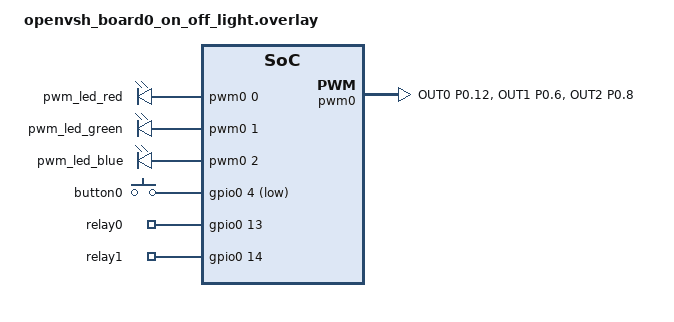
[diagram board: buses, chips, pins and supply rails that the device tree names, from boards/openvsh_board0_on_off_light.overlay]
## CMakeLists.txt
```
cmake_minimum_required(VERSION 3.20.0)
find_package(Zephyr REQUIRED HINTS $ENV{ZEPHYR_BASE})

project(openvsh)

target_include_directories(app PRIVATE include)

target_sources(app PRIVATE
  src/bluetooth.c
  src/main.c
  src/on_off_light.c
  src/zigbee.c
)
```

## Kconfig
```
mainmenu "OpenVSH"

choice OPENVSH_DEVICE_CHOICE
    prompt "OpenVSH device type."
    default OPENVSH_DEVICE_NONE

config OPENVSH_DEVICE_NONE
	bool "None"

config OPENVSH_DEVICE_ON_OFF_LIGHT
	bool "On/Off Light"

config OPENVSH_DEVICE_WINDOW_COVERING
	bool "Window Covering"

endchoice

module = OPENVSH
module-str = openvsh
source "subsys/logging/Kconfig.template.log_config"

source "Kconfig.zephyr"
```

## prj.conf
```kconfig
CONFIG_BT_BUF_ACL_RX_SIZE=502
CONFIG_BT_BUF_ACL_TX_SIZE=502
CONFIG_BT_CTLR_DATA_LENGTH_MAX=251
CONFIG_BT_CTLR=y
CONFIG_BT_L2CAP_TX_MTU=498
CONFIG_BT_PERIPHERAL=y
CONFIG_BT=y
CONFIG_CRC=y
CONFIG_DISABLE_FLASH_PATCH=y
CONFIG_FLASH_MAP=y
CONFIG_FLASH=y
CONFIG_GPIO=y
CONFIG_IMG_MANAGER=y
CONFIG_LOG=y
CONFIG_MAIN_THREAD_PRIORITY=10
CONFIG_MCUMGR_GRP_IMG=y
CONFIG_MCUMGR_GRP_OS_BOOTLOADER_INFO=y
CONFIG_MCUMGR_GRP_OS_MCUMGR_PARAMS=y
CONFIG_MCUMGR_GRP_OS=y
CONFIG_MCUMGR_GRP_ZBASIC=y
CONFIG_MCUMGR_TRANSPORT_BT_REASSEMBLY=y
CONFIG_MCUMGR_TRANSPORT_BT=y
CONFIG_MCUMGR_TRANSPORT_WORKQUEUE_STACK_SIZE=4608
CONFIG_MCUMGR=y
CONFIG_NET_BUF=y
CONFIG_NET_IP_ADDR_CHECK=n
CONFIG_NET_IPV6=n
CONFIG_NET_UDP=n
CONFIG_NVS=y
CONFIG_OPENVSH_LOG_LEVEL_DBG=y
CONFIG_PWM=y
CONFIG_SETTINGS_NVS=y
CONFIG_SETTINGS_RUNTIME=y
CONFIG_SETTINGS=y
CONFIG_STREAM_FLASH=y
CONFIG_SYSTEM_WORKQUEUE_STACK_SIZE=2304
CONFIG_ZCBOR=y
CONFIG_ZIGBEE_CHANNEL_SELECTION_MODE_MULTI=y
CONFIG_ZIGBEE_ROLE_ROUTER=y
CONFIG_ZIGBEE=y
```

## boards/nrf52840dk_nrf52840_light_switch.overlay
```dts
/ {
  pwmleds {
    pwm_led1: pwm_led_1 {
      pwms = <&pwm0 1 PWM_MSEC(20) PWM_POLARITY_INVERTED>;
    };

    pwm_led2: pwm_led_2 {
      pwms = <&pwm0 2 PWM_MSEC(20) PWM_POLARITY_INVERTED>;
    };
  };

  aliases {
    pwm-led-red = &pwm_led0;
    pwm-led-green = &pwm_led1;
    pwm-led-blue = &pwm_led2;

    button = &button0;

    relay-1 = &led3;
    relay-2 = &led3;
  };
};

&pinctrl {
  pwm0_default: pwm0_default {
    group2 {
      psels = <NRF_PSEL(PWM_OUT1, 0, 14)>;
      nordic,invert;
    };
    group3 {
      psels = <NRF_PSEL(PWM_OUT2, 0, 15)>;
      nordic,invert;
    };
  };
};
```

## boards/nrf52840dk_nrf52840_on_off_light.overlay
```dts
/ {
  pwmleds {
    pwm_led1: pwm_led_1 {
      pwms = <&pwm0 1 PWM_MSEC(20) PWM_POLARITY_INVERTED>;
    };

    pwm_led2: pwm_led_2 {
      pwms = <&pwm0 2 PWM_MSEC(20) PWM_POLARITY_INVERTED>;
    };
  };

  aliases {
    pwm-led-red = &pwm_led0;
    pwm-led-green = &pwm_led1;
    pwm-led-blue = &pwm_led2;

    button = &button0;

    relay-1 = &led3;
    relay-2 = &led3;
  };
};

&pinctrl {
  pwm0_default: pwm0_default {
    group2 {
      psels = <NRF_PSEL(PWM_OUT1, 0, 14)>;
      nordic,invert;
    };
    group3 {
      psels = <NRF_PSEL(PWM_OUT2, 0, 15)>;
      nordic,invert;
    };
  };

  pwm0_sleep: pwm0_sleep {
    group2 {
      psels = <NRF_PSEL(PWM_OUT0, 0, 14)>;
      low-power-enable;
    };
    group3 {
      psels = <NRF_PSEL(PWM_OUT0, 0, 15)>;
      low-power-enable;
    };
  };
};
```

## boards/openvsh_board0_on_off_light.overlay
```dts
/ {
  pwmleds {
    compatible = "pwm-leds";

    pwm_led_red: pwm_led_red {
      pwms = <&pwm0 0 PWM_MSEC(20) PWM_POLARITY_NORMAL>;
    };

    pwm_led_green: pwm_led_green {
      pwms = <&pwm0 1 PWM_MSEC(20) PWM_POLARITY_NORMAL>;
    };

    pwm_led_blue: pwm_led_blue {
      pwms = <&pwm0 2 PWM_MSEC(20) PWM_POLARITY_NORMAL>;
    };
  };

  buttons {
    compatible = "gpio-keys";

    button0: button0 {
      gpios = <&gpio0 4 (GPIO_PULL_UP | GPIO_ACTIVE_LOW)>;
      zephyr,code = <INPUT_KEY_0>;
    };
  };

  relays {
    compatible = "gpio-leds";

    relay0: relay0 {
      gpios = <&gpio0 13 GPIO_ACTIVE_HIGH>;
    };
    relay1: relay1 {
      gpios = <&gpio0 14 GPIO_ACTIVE_HIGH>;
    };
  };

  aliases {
    pwm-led-red = &pwm_led_red;
    pwm-led-green = &pwm_led_green;
    pwm-led-blue = &pwm_led_blue;

    button = &button0;

    relay-1 = &relay0;
    relay-2 = &relay1;
  };
};

&pinctrl {
  pwm0_default: pwm0_default {
    group1 {
      psels = <NRF_PSEL(PWM_OUT0, 0, 12)>;
    };
    group2 {
      psels = <NRF_PSEL(PWM_OUT1, 0, 6)>;
    };
    group3 {
      psels = <NRF_PSEL(PWM_OUT2, 0, 8)>;
    };
  };

  pwm0_sleep: pwm0_sleep {
    group1 {
      psels = <NRF_PSEL(PWM_OUT0, 0, 12)>;
      low-power-enable;
    };
    group2 {
      psels = <NRF_PSEL(PWM_OUT1, 0, 6)>;
      low-power-enable;
    };
    group3 {
      psels = <NRF_PSEL(PWM_OUT2, 0, 8)>;
      low-power-enable;
    };
  };
};

&pwm0 {
  status = "okay";
  pinctrl-0 = <&pwm0_default>;
  pinctrl-1 = <&pwm0_sleep>;
  pinctrl-names = "default", "sleep";
};
```

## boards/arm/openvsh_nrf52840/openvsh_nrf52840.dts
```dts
/dts-v1/;
#include <nordic/nrf52840_qiaa.dtsi>
#include <zephyr/dt-bindings/input/input-event-codes.h>

/ {
	model = "OpenVSH NRF52840";
	compatible = "openvsh,openvsh-nrf52840";

	chosen {
		zephyr,sram = &sram0;
		zephyr,flash = &flash0;
		zephyr,ieee802154 = &ieee802154;
	};
};

&gpiote {
	status = "okay";
};

&gpio0 {
	status = "okay";
};

&gpio1 {
	status = "okay";
};

&ieee802154 {
	status = "okay";
};
```

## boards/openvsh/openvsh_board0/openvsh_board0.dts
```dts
/dts-v1/;
#include <nordic/nrf52840_qiaa.dtsi>
#include <zephyr/dt-bindings/input/input-event-codes.h>

/ {
	model = "OpenVSH Board0";
	compatible = "openvsh,board0";

	chosen {
		zephyr,sram = &sram0;
		zephyr,flash = &flash0;
		zephyr,code-partition = &slot0_partition;
		zephyr,ieee802154 = &ieee802154;
	};
};

&flash0 {
	partitions {
		compatible = "fixed-partitions";
		#address-cells = <1>;
		#size-cells = <1>;

		boot_partition: partition@0 {
			label = "mcuboot";
			reg = <0x00000000 0x0000C000>;
		};
		slot0_partition: partition@c000 {
			label = "image-0";
			reg = <0x0000C000 0x00076000>;
		};
		slot1_partition: partition@82000 {
			label = "image-1";
			reg = <0x00082000 0x00076000>;
		};
		storage_partition: partition@f8000 {
			label = "storage";
			reg = <0x000f8000 0x00008000>;
		};
	};
};

&gpiote {
	status = "okay";
};

&gpio0 {
	status = "okay";
};

&gpio1 {
	status = "okay";
};

&ieee802154 {
	status = "okay";
};
```

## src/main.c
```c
#ifdef CONFIG_OPENVSH_DEVICE_ON_OFF_LIGHT
#include "on_off_light.h"
#endif

#include <zephyr/logging/log.h>

LOG_MODULE_REGISTER(openvsh, CONFIG_OPENVSH_LOG_LEVEL);

int main(void)
{
  LOG_INF("Starting OpenVSH");

#ifdef CONFIG_OPENVSH_DEVICE_ON_OFF_LIGHT
  on_off_light_configure_and_start();
#endif

  return 0;
}
```

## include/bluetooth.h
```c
#ifndef BLUETOOTH_H
#define BLUETOOTH_H 1

#include <zephyr/bluetooth/bluetooth.h>
#include <zephyr/bluetooth/conn.h>
#include <zephyr/kernel.h>
#include <zephyr/logging/log.h>

typedef void (*ovsh_bluetooth_connection_handler_t)(bool connected);
typedef void (*ovsh_bluetooth_status_handler_t)(bool enabled);

typedef struct ovsh_bluetooth_handlers_s
{
  ovsh_bluetooth_connection_handler_t connection;
  ovsh_bluetooth_status_handler_t status;
} ovsh_bluetooth_handlers_t;

int ovsh_bluetooth_disable();
int ovsh_bluetooth_enable();
void ovsh_bluetooth_register_handlers(ovsh_bluetooth_handlers_t *handlers);

#endif /* BLUETOOTH_H */
```

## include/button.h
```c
#ifndef BUTTON_H
#define BUTTON_H 1

#include "macro.h"

#include <zephyr/drivers/gpio.h>
#include <zephyr/kernel.h>
#include <zephyr/logging/log.h>

typedef void (*ovsh_button_pressed_handler_t)(uint8_t seconds);
typedef void (*ovsh_button_released_handler_t)();

typedef struct ovsh_button_handlers_s
{
  ovsh_button_pressed_handler_t pressed;
  ovsh_button_released_handler_t released;
} ovsh_button_handlers_t;

#define OVSH_BUTTON_DECLARE_HEADER(NAME) \
  int NAME##_configure();                \
  void NAME##_register_handlers(ovsh_button_handlers_t *handlers);

#define OVSH_BUTTON_DECLARE(NAME, SPEC)                                                             \
  static struct gpio_callback NAME##_callback;                                                      \
  static struct k_timer NAME##_ten_seconds_timer;                                                   \
  static struct k_timer NAME##_fifteen_seconds_timer;                                               \
  static struct k_timer NAME##_debounce_timer;                                                      \
  static ovsh_button_handlers_t *NAME##_registered_handlers;                                        \
  static struct k_work NAME##_pressed_work;                                                         \
  static struct k_work NAME##_pressed_ten_seconds_work;                                             \
  static struct k_work NAME##_pressed_fifteen_seconds_work;                                         \
                                                                                                    \
  static void NAME##_callback_handler(const struct device *port,                                    \
                                      struct gpio_callback *cb,                                     \
                                      gpio_port_pins_t pins)                                        \
  {                                                                                                 \
    if (gpio_pin_get_dt(SPEC))                                                                      \
    {                                                                                               \
      k_timer_start(&NAME##_debounce_timer, K_MSEC(50), K_NO_WAIT);                                 \
    }                                                                                               \
    else                                                                                            \
    {                                                                                               \
      k_timer_stop(&NAME##_ten_seconds_timer);                                                      \
      k_timer_stop(&NAME##_fifteen_seconds_timer);                                                  \
      k_timer_stop(&NAME##_debounce_timer);                                                         \
                                                                                                    \
      if (NAME##_registered_handlers && NAME##_registered_handlers->released)                       \
      {                                                                                             \
        NAME##_registered_handlers->released();                                                     \
      }                                                                                             \
    }                                                                                               \
  }                                                                                                 \
                                                                                                    \
  static void NAME##_debounce_timer_expired(struct k_timer *timer)                                  \
  {                                                                                                 \
    k_work_submit(&NAME##_pressed_work);                                                            \
    k_timer_start(&NAME##_ten_seconds_timer, K_SECONDS(10), K_NO_WAIT);                             \
    k_timer_start(&NAME##_fifteen_seconds_timer, K_SECONDS(15), K_NO_WAIT);                         \
  }                                                                                                 \
                                                                                                    \
  static void NAME##_pressed_work_handler()                                                         \
  {                                                                                                 \
    if (NAME##_registered_handlers && NAME##_registered_handlers->pressed)                          \
    {                                                                                               \
      NAME##_registered_handlers->pressed(0);                                                       \
    }                                                                                               \
  }                                                                                                 \
                                                                                                    \
  static void NAME##_ten_seconds_timer_expired(struct k_timer *timer)                               \
  {                                                                                                 \
    k_work_submit(&NAME##_pressed_ten_seconds_work);                                                \
  }                                                                                                 \
                                                                                                    \
  static void NAME##_pressed_ten_seconds_work_handler()                                             \
  {                                                                                                 \
    if (NAME##_registered_handlers && NAME##_registered_handlers->pressed)                          \
    {                                                                                               \
      NAME##_registered_handlers->pressed(10);                                                      \
    }                                                                                               \
  }                                                                                                 \
                                                                                                    \
  static void NAME##_fifteen_seconds_timer_expired(struct k_timer *timer)                           \
  {                                                                                                 \
    k_work_submit(&NAME##_pressed_fifteen_seconds_work);                                            \
  }                                                                                                 \
                                                                                                    \
  static void NAME##_pressed_fifteen_seconds_work_handler()                                         \
  {                                                                                                 \
    if (NAME##_registered_handlers && NAME##_registered_handlers->pressed)                          \
    {                                                                                               \
      NAME##_registered_handlers->pressed(15);                                                      \
    }                                                                                               \
  }                                                                                                 \
                                                                                                    \
  void NAME##_register_handlers(ovsh_button_handlers_t *handlers)                                   \
  {                                                                                                 \
    NAME##_registered_handlers = handlers;                                                          \
  }                                                                                                 \
                                                                                                    \
  int NAME##_configure()                                                                            \
  {                                                                                                 \
    int err;                                                                                        \
                                                                                                    \
    LOG_INF("Configuring button " #NAME);                                                           \
                                                                                                    \
    if (!gpio_is_ready_dt(SPEC))                                                                    \
    {                                                                                               \
      LOG_ERR("Button " #NAME " GPIO is not ready");                                                \
      return 1;                                                                                     \
    }                                                                                               \
                                                                                                    \
    err = gpio_pin_configure_dt(SPEC, GPIO_INPUT);                                                  \
    if (err != 0)                                                                                   \
    {                                                                                               \
      LOG_ERR("Button " #NAME " GPIO configure failed (err: %d)", err);                             \
      return err;                                                                                   \
    }                                                                                               \
                                                                                                    \
    err = gpio_pin_interrupt_configure_dt(SPEC, GPIO_INT_EDGE_BOTH);                                \
    if (err != 0)                                                                                   \
    {                                                                                               \
      LOG_ERR("Button " #NAME " GPIO interrupt configure failed (err: %d)", err);                   \
      return err;                                                                                   \
    }                                                                                               \
                                                                                                    \
    gpio_init_callback(&NAME##_callback, NAME##_callback_handler, BIT(PTR_TO_VAL(SPEC).pin));       \
                                                                                                    \
    err = gpio_add_callback(PTR_TO_VAL(SPEC).port, &NAME##_callback);                               \
    if (err != 0)                                                                                   \
    {                                                                                               \
      LOG_ERR("Button " #NAME " GPIO add callback failed (err: %d)", err);                          \
      return err;                                                                                   \
    }                                                                                               \
                                                                                                    \
    k_timer_init(&NAME##_ten_seconds_timer, NAME##_ten_seconds_timer_expired, NULL);                \
    k_timer_init(&NAME##_fifteen_seconds_timer, NAME##_fifteen_seconds_timer_expired, NULL);        \
    k_timer_init(&NAME##_debounce_timer, NAME##_debounce_timer_expired, NULL);                      \
    k_work_init(&NAME##_pressed_work, NAME##_pressed_work_handler);                                 \
    k_work_init(&NAME##_pressed_ten_seconds_work, NAME##_pressed_ten_seconds_work_handler);         \
    k_work_init(&NAME##_pressed_fifteen_seconds_work, NAME##_pressed_fifteen_seconds_work_handler); \
                                                                                                    \
    LOG_DBG("Button " #NAME " configured");                                                         \
                                                                                                    \
    return 0;                                                                                       \
  }

#endif /* BUTTON_H */
```

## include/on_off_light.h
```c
#ifdef CONFIG_OPENVSH_DEVICE_ON_OFF_LIGHT

#ifndef ON_OFF_LIGHT_H
#define ON_OFF_LIGHT_H 1

#include "button.h"
#include "rgb.h"
#include "relay.h"
#include "zigbee.h"
#include "bluetooth.h"
#include "zb_ha_on_off_light.h"

#include <zboss_api.h>
#include <zboss_api_addons.h>
#include <zephyr/logging/log.h>
#include <zephyr/settings/settings.h>

OVSH_BUTTON_DECLARE_HEADER(button);
OVSH_RGB_DECLARE_HEADER(rgb);
OVSH_RELAY_DECLARE_HEADER(relay_1);
OVSH_RELAY_DECLARE_HEADER(relay_2);

void on_off_light_configure_and_start();

#endif /* ON_OFF_LIGHT_H */

#endif /* CONFIG_OPENVSH_DEVICE_ON_OFF_LIGHT */
```

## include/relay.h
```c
#ifndef RELAY_H
#define RELAY_H 1

#include "macro.h"

#include <zephyr/drivers/gpio.h>
#include <zephyr/kernel.h>
#include <zephyr/logging/log.h>

#define OVSH_RELAY_DECLARE_HEADER(NAME) \
  void NAME##_toggle();                 \
  void NAME##_set(bool value);          \
  int NAME##_configure();

#define OVSH_RELAY_DECLARE(NAME, SPEC)                                 \
  void NAME##_toggle()                                                 \
  {                                                                    \
    int err;                                                           \
                                                                       \
    err = gpio_pin_toggle_dt(SPEC);                                    \
    if (err != 0)                                                      \
    {                                                                  \
      LOG_ERR("Relay " #NAME " GPIO toggle failed (err: %d)", err);    \
      return;                                                          \
    }                                                                  \
  }                                                                    \
                                                                       \
  void NAME##_set(bool value)                                          \
  {                                                                    \
    int err;                                                           \
                                                                       \
    err = gpio_pin_set_dt(SPEC, value);                                \
    if (err != 0)                                                      \
    {                                                                  \
      LOG_ERR("Relay " #NAME " GPIO set failed (err: %d)", err);       \
      return;                                                          \
    }                                                                  \
  }                                                                    \
                                                                       \
  int NAME##_configure()                                               \
  {                                                                    \
    int err;                                                           \
                                                                       \
    LOG_INF("Configuring relay " #NAME);                               \
                                                                       \
    if (!gpio_is_ready_dt(SPEC))                                       \
    {                                                                  \
      LOG_ERR("Relay " #NAME " GPIO is not ready");                    \
      return 1;                                                        \
    }                                                                  \
                                                                       \
    err = gpio_pin_configure_dt(SPEC, GPIO_OUTPUT_INACTIVE);           \
    if (err != 0)                                                      \
    {                                                                  \
      LOG_ERR("Relay " #NAME " GPIO configure failed (err: %d)", err); \
      return err;                                                      \
    }                                                                  \
                                                                       \
    LOG_DBG("Relay " #NAME " configured");                             \
                                                                       \
    return 0;                                                          \
  }

#endif /* RELAY_H */
```

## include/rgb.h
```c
#ifndef RGB_H
#define RGB_H 1

#include "macro.h"

#include <zephyr/drivers/pwm.h>
#include <zephyr/kernel.h>
#include <zephyr/logging/log.h>

typedef struct ovsh_rgb_spec_s
{
  struct pwm_dt_spec *pwm_red;
  struct pwm_dt_spec *pwm_green;
  struct pwm_dt_spec *pwm_blue;
} ovsh_rgb_spec_t;

typedef struct ovsh_rgb_color_s
{
  uint8_t red;
  uint8_t green;
  uint8_t blue;
} ovsh_rgb_color_t;

static const ovsh_rgb_color_t ovsh_rgb_colors[] = {
    {.red = 255, .green = 0, .blue = 128},   // rose
    {.red = 255, .green = 0, .blue = 255},   // magenta
    {.red = 128, .green = 0, .blue = 255},   // violet
    {.red = 0, .green = 0, .blue = 255},     // blue
    {.red = 0, .green = 128, .blue = 255},   // azure
    {.red = 0, .green = 255, .blue = 255},   // cyan
    {.red = 0, .green = 255, .blue = 128},   // springgreen
    {.red = 0, .green = 255, .blue = 0},     // green
    {.red = 128, .green = 255, .blue = 0},   // chartreuse
    {.red = 255, .green = 255, .blue = 0},   // yellow
    {.red = 255, .green = 128, .blue = 0},   // orange
    {.red = 255, .green = 0, .blue = 0},     // red
    {.red = 255, .green = 255, .blue = 255}, // white
    {.red = 0, .green = 0, .blue = 0},       // none
};

enum ovsh_rgb_color_e
{
  OVSH_RGB_COLOR_ROSE = 0,
  OVSH_RGB_COLOR_MAGENTA,
  OVSH_RGB_COLOR_VIOLET,
  OVSH_RGB_COLOR_BLUE,
  OVSH_RGB_COLOR_AZURE,
  OVSH_RGB_COLOR_CYAN,
  OVSH_RGB_COLOR_SPRINGGREEN,
  OVSH_RGB_COLOR_GREEN,
  OVSH_RGB_COLOR_CHARTREUSE,
  OVSH_RGB_COLOR_YELLOW,
  OVSH_RGB_COLOR_ORANGE,
  OVSH_RGB_COLOR_RED,
  OVSH_RGB_COLOR_WHITE,
  OVSH_RGB_COLOR_NONE,
};

enum ovsh_rgb_brightness_e
{
  OVSH_RGB_BRIGHTNESS_OFF = 0,
  OVSH_RGB_BRIGHTNESS_DIM,
  OVSH_RGB_BRIGHTNESS_MEDIUM,
  OVSH_RGB_BRIGHTNESS_BRIGHT,
};

#define OVSH_RGB_DECLARE_HEADER(NAME)                 \
  void NAME##_start_fading();                         \
  void NAME##_stop_fading();                          \
  int NAME##_configure();                             \
  void NAME##_set_brightness(float brightness);       \
  void NAME##_set_rgb_color(uint8_t color);           \
  void NAME##_set_rgb_brightness(uint8_t brightness); \
  void NAME##_set_color(uint8_t red, uint8_t green, uint8_t blue);

#define OVSH_RGB_DECLARE(NAME, SPEC)                                                  \
  static struct k_timer NAME##_fading_timer;                                          \
  static bool NAME##_fading_increasing = false;                                       \
  static bool NAME##_fading = false;                                                  \
  static uint8_t NAME##_red = 0;                                                      \
  static uint8_t NAME##_green = 0;                                                    \
  static uint8_t NAME##_blue = 0;                                                     \
  static float NAME##_brightness = 0.0f;                                              \
                                                                                      \
  static void NAME##_update()                                                         \
  {                                                                                   \
    int err;                                                                          \
                                                                                      \
    float scaled_red = NAME##_red * NAME##_brightness;                                \
    float scaled_green = NAME##_green * NAME##_brightness;                            \
    float scaled_blue = NAME##_blue * NAME##_brightness;                              \
                                                                                      \
    uint32_t pulse_red = PTR_TO_VAL(SPEC).pwm_red->period * (scaled_red / 255);       \
    uint32_t pulse_green = PTR_TO_VAL(SPEC).pwm_green->period * (scaled_green / 255); \
    uint32_t pulse_blue = PTR_TO_VAL(SPEC).pwm_blue->period * (scaled_blue / 255);    \
                                                                                      \
    err = pwm_set_pulse_dt(PTR_TO_VAL(SPEC).pwm_red, pulse_red);                      \
    if (err != 0)                                                                     \
    {                                                                                 \
      LOG_ERR("RGB " #NAME " PWM set failed (err: %d)", err);                         \
      return;                                                                         \
    }                                                                                 \
                                                                                      \
    err = pwm_set_pulse_dt(PTR_TO_VAL(SPEC).pwm_green, pulse_green);                  \
    if (err != 0)                                                                     \
    {                                                                                 \
      LOG_ERR("RGB " #NAME " PWM set failed (err: %d)", err);                         \
      return;                                                                         \
    }                                                                                 \
                                                                                      \
    err = pwm_set_pulse_dt(PTR_TO_VAL(SPEC).pwm_blue, pulse_blue);                    \
    if (err != 0)                                                                     \
    {                                                                                 \
      LOG_ERR("RGB " #NAME " PWM set failed (err: %d)", err);                         \
      return;                                                                         \
    }                                                                                 \
  }                                                                                   \
                                                                                      \
  static void NAME##_fading_timer_expired()                                           \
  {                                                                                   \
    float step = 0.01f;                                                               \
                                                                                      \
    if (NAME##_fading_increasing)                                                     \
    {                                                                                 \
      NAME##_brightness += step;                                                      \
                                                                                      \
      if (NAME##_brightness > 1.0f)                                                   \
      {                                                                               \
        NAME##_brightness = 1.0f;                                                     \
        NAME##_fading_increasing = false;                                             \
      }                                                                               \
                                                                                      \
      NAME##_update();                                                                \
    }                                                                                 \
    else                                                                              \
    {                                                                                 \
      NAME##_brightness -= step;                                                      \
                                                                                      \
      if (NAME##_brightness < 0.0f)                                                   \
      {                                                                               \
        NAME##_brightness = 0.0f;                                                     \
        NAME##_fading_increasing = true;                                              \
      }                                                                               \
                                                                                      \
      NAME##_update();                                                                \
    }                                                                                 \
  }                                                                                   \
                                                                                      \
  void NAME##_set_color(uint8_t red, uint8_t green, uint8_t blue)                     \
  {                                                                                   \
    NAME##_red = red;                                                                 \
    NAME##_green = green;                                                             \
    NAME##_blue = blue;                                                               \
    NAME##_update();                                                                  \
  }                                                                                   \
                                                                                      \
  void NAME##_set_rgb_color(uint8_t color)                                            \
  {                                                                                   \
                                                                                      \
    NAME##_set_color(                                                                 \
        ovsh_rgb_colors[color].red,                                                   \
        ovsh_rgb_colors[color].green,                                                 \
        ovsh_rgb_colors[color].blue);                                                 \
  }                                                                                   \
                                                                                      \
  void NAME##_set_brightness(float brightness)                                        \
  {                                                                                   \
    if (NAME##_fading)                                                                \
    {                                                                                 \
      return;                                                                         \
    }                                                                                 \
                                                                                      \
    NAME##_brightness = brightness;                                                   \
    NAME##_update();                                                                  \
  }                                                                                   \
                                                                                      \
  void NAME##_set_rgb_brightness(uint8_t brightness)                                  \
  {                                                                                   \
    switch (brightness)                                                               \
    {                                                                                 \
    case OVSH_RGB_BRIGHTNESS_OFF:                                                     \
      NAME##_set_brightness(0.0f);                                                    \
      break;                                                                          \
                                                                                      \
    case OVSH_RGB_BRIGHTNESS_DIM:                                                     \
      NAME##_set_brightness(0.33f);                                                   \
      break;                                                                          \
                                                                                      \
    case OVSH_RGB_BRIGHTNESS_MEDIUM:                                                  \
      NAME##_set_brightness(0.66f);                                                   \
      break;                                                                          \
                                                                                      \
    case OVSH_RGB_BRIGHTNESS_BRIGHT:                                                  \
      NAME##_set_brightness(1.0f);                                                    \
      break;                                                                          \
    }                                                                                 \
  }                                                                                   \
                                                                                      \
  void NAME##_start_fading()                                                          \
  {                                                                                   \
    if (NAME##_fading)                                                                \
    {                                                                                 \
      return;                                                                         \
    }                                                                                 \
                                                                                      \
    NAME##_fading = true;                                                             \
    NAME##_fading_increasing = true;                                                  \
    NAME##_brightness = 0.0f;                                                         \
    NAME##_update();                                                                  \
                                                                                      \
    k_timer_start(&NAME##_fading_timer, K_MSEC(10), K_MSEC(10));                      \
  }                                                                                   \
                                                                                      \
  void NAME##_stop_fading()                                                           \
  {                                                                                   \
    if (!NAME##_fading)                                                               \
    {                                                                                 \
      return;                                                                         \
    }                                                                                 \
                                                                                      \
    NAME##_fading = false;                                                            \
    k_timer_stop(&NAME##_fading_timer);                                               \
                                                                                      \
    NAME##_update();                                                                  \
  }                                                                                   \
                                                                                      \
  int NAME##_configure()                                                              \
  {                                                                                   \
    LOG_INF("Configuring RGB " #NAME);                                                \
                                                                                      \
    if (!pwm_is_ready_dt(PTR_TO_VAL(SPEC).pwm_red))                                   \
    {                                                                                 \
      LOG_ERR("RGB " #NAME " PWM is not ready");                                      \
      return 1;                                                                       \
    }                                                                                 \
                                                                                      \
    if (!pwm_is_ready_dt(PTR_TO_VAL(SPEC).pwm_green))                                 \
    {                                                                                 \
      LOG_ERR("RGB " #NAME " PWM is not ready");                                      \
      return 1;                                                                       \
    }                                                                                 \
                                                                                      \
    if (!pwm_is_ready_dt(PTR_TO_VAL(SPEC).pwm_blue))                                  \
    {                                                                                 \
      LOG_ERR("RGB " #NAME " PWM is not ready");                                      \
      return 1;                                                                       \
    }                                                                                 \
                                                                                      \
    k_timer_init(&NAME##_fading_timer, NAME##_fading_timer_expired, NULL);            \
                                                                                      \
    LOG_DBG("RGB " #NAME " configured");                                              \
                                                                                      \
    return 0;                                                                         \
  }

#endif /* RGB_H */
```

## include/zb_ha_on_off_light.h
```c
#ifdef CONFIG_OPENVSH_DEVICE_ON_OFF_LIGHT

#ifndef ZB_HA_ON_OFF_LIGHT_H
#define ZB_HA_ON_OFF_LIGHT_H 1

#define ZB_HA_DEVICE_VER_ON_OFF_LIGHT 1

#define ZB_HA_ON_OFF_LIGHT_IN_CLUSTER_NUM 5
#define ZB_HA_ON_OFF_LIGHT_OUT_CLUSTER_NUM 0

#define ZB_HA_ON_OFF_LIGHT_REPORT_ATTR_COUNT ZB_ZCL_ON_OFF_REPORT_ATTR_COUNT

#define ZB_HA_DECLARE_ON_OFF_LIGHT_CLUSTER_LIST(                      \
    cluster_list_name,                                                \
    basic_attr_list,                                                  \
    identify_attr_list,                                               \
    groups_attr_list,                                                 \
    scenes_attr_list,                                                 \
    on_off_attr_list)                                                 \
    zb_zcl_cluster_desc_t cluster_list_name[] =                       \
        {                                                             \
            ZB_ZCL_CLUSTER_DESC(                                      \
                ZB_ZCL_CLUSTER_ID_BASIC,                              \
                ZB_ZCL_ARRAY_SIZE(basic_attr_list, zb_zcl_attr_t),    \
                (basic_attr_list),                                    \
                ZB_ZCL_CLUSTER_SERVER_ROLE,                           \
                ZB_ZCL_MANUF_CODE_INVALID),                           \
            ZB_ZCL_CLUSTER_DESC(                                      \
                ZB_ZCL_CLUSTER_ID_IDENTIFY,                           \
                ZB_ZCL_ARRAY_SIZE(identify_attr_list, zb_zcl_attr_t), \
                (identify_attr_list),                                 \
                ZB_ZCL_CLUSTER_SERVER_ROLE,                           \
                ZB_ZCL_MANUF_CODE_INVALID),                           \
            ZB_ZCL_CLUSTER_DESC(                                      \
                ZB_ZCL_CLUSTER_ID_GROUPS,                             \
                ZB_ZCL_ARRAY_SIZE(groups_attr_list, zb_zcl_attr_t),   \
                (groups_attr_list),                                   \
                ZB_ZCL_CLUSTER_SERVER_ROLE,                           \
                ZB_ZCL_MANUF_CODE_INVALID),                           \
            ZB_ZCL_CLUSTER_DESC(                                      \
                ZB_ZCL_CLUSTER_ID_SCENES,                             \
                ZB_ZCL_ARRAY_SIZE(scenes_attr_list, zb_zcl_attr_t),   \
                (scenes_attr_list),                                   \
                ZB_ZCL_CLUSTER_SERVER_ROLE,                           \
                ZB_ZCL_MANUF_CODE_INVALID),                           \
            ZB_ZCL_CLUSTER_DESC(                                      \
                ZB_ZCL_CLUSTER_ID_ON_OFF,                             \
                ZB_ZCL_ARRAY_SIZE(on_off_attr_list, zb_zcl_attr_t),   \
                (on_off_attr_list),                                   \
                ZB_ZCL_CLUSTER_SERVER_ROLE,                           \
                ZB_ZCL_MANUF_CODE_INVALID),                           \
    }

#define ZB_ZCL_DECLARE_ON_OFF_LIGHT_SIMPLE_DESC(ep_name, ep_id, in_clust_num, out_clust_num) \
    ZB_DECLARE_SIMPLE_DESC(in_clust_num, out_clust_num);                                     \
    ZBOSS_DEVICE_DECLARE_REPORTING_CTX(reporting_info##device_ctx_name,                      \
                                       ZB_HA_ON_OFF_LIGHT_REPORT_ATTR_COUNT);                \
    ZB_AF_SIMPLE_DESC_TYPE(in_clust_num, out_clust_num)                                      \
    simple_desc_##ep_name =                                                                  \
        {                                                                                    \
            ep_id,                                                                           \
            ZB_AF_HA_PROFILE_ID,                                                             \
            ZB_HA_ON_OFF_LIGHT_DEVICE_ID,                                                    \
            ZB_HA_DEVICE_VER_ON_OFF_LIGHT,                                                   \
            0,                                                                               \
            in_clust_num,                                                                    \
            out_clust_num,                                                                   \
            {                                                                                \
                ZB_ZCL_CLUSTER_ID_BASIC,                                                     \
                ZB_ZCL_CLUSTER_ID_IDENTIFY,                                                  \
                ZB_ZCL_CLUSTER_ID_GROUPS,                                                    \
                ZB_ZCL_CLUSTER_ID_SCENES,                                                    \
                ZB_ZCL_CLUSTER_ID_ON_OFF,                                                    \
            }}

#define ZB_HA_DECLARE_ON_OFF_LIGHT_EP(ep_name, ep_id, cluster_list)                                                 \
    ZB_ZCL_DECLARE_ON_OFF_LIGHT_SIMPLE_DESC(ep_name, ep_id,                                                         \
                                            ZB_HA_ON_OFF_LIGHT_IN_CLUSTER_NUM, ZB_HA_ON_OFF_LIGHT_OUT_CLUSTER_NUM); \
    ZB_AF_DECLARE_ENDPOINT_DESC(ep_name, ep_id, ZB_AF_HA_PROFILE_ID, 0, NULL,                                       \
                                ZB_ZCL_ARRAY_SIZE(cluster_list, zb_zcl_cluster_desc_t), cluster_list,               \
                                (zb_af_simple_desc_1_1_t *)&simple_desc_##ep_name,                                  \
                                ZB_HA_ON_OFF_LIGHT_REPORT_ATTR_COUNT, reporting_info##device_ctx_name,              \
                                0, NULL)

#endif /* ZB_HA_ON_OFF_LIGHT_H */

#endif /* CONFIG_OPENVSH_DEVICE_ON_OFF_LIGHT */
```

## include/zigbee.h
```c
#ifndef ZIGBEE_H
#define ZIGBEE_H 1

#include <zephyr/logging/log.h>
#include <zephyr/kernel.h>
#include <zboss_api.h>
#include <zboss_api_addons.h>

typedef void (*ovsh_zigbee_connection_handler_t)(bool connected);
typedef void (*ovsh_zigbee_status_handler_t)(bool enabled);
typedef void (*ovsh_zigbee_identify_handler_t)(bool identifing);
typedef void (*ovsh_zigbee_zcl_device_callback_handler_t)(zb_uint8_t param);

typedef struct ovsh_zigbee_handlers_s
{
  ovsh_zigbee_status_handler_t status;
  ovsh_zigbee_connection_handler_t connection;
  ovsh_zigbee_identify_handler_t identify;
  ovsh_zigbee_zcl_device_callback_handler_t zcl_device_callback;
} ovsh_zigbee_handlers_t;

int ovsh_zigbee_enable();
void ovsh_zigbee_register_handlers(ovsh_zigbee_handlers_t *handlers);
void ovsh_zigbee_register_device_context(zb_af_device_ctx_t *context);
void ovsh_zigbee_register_identify_handler(uint8_t endpoint);
// void ovsh_zigbee_register_cluster_handler(uint8_t cluster);

#endif /* ZIGBEE_H */
```

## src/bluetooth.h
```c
#ifndef BLUETOOTH_H
#define BLUETOOTH_H 1

#include <zephyr/bluetooth/bluetooth.h>
#include <zephyr/bluetooth/conn.h>
#include <zephyr/kernel.h>
#include <zephyr/logging/log.h>

typedef void (*bluetooth_connected_cb_t)();
typedef void (*bluetooth_disconnected_cb_t)();
typedef void (*bluetooth_enabled_cb_t)();
typedef void (*bluetooth_disabled_cb_t)();

struct bluetooth_callbacks
{
  bluetooth_connected_cb_t connected;
  bluetooth_disconnected_cb_t disconnected;
  bluetooth_enabled_cb_t enabled;
  bluetooth_disabled_cb_t disabled;
};

bool bluetooth_configure();
bool bluetooth_disable();
bool bluetooth_enable();
void bluetooth_register_callbacks(struct bluetooth_callbacks *callbacks);

#endif /* BLUETOOTH_H */
```
